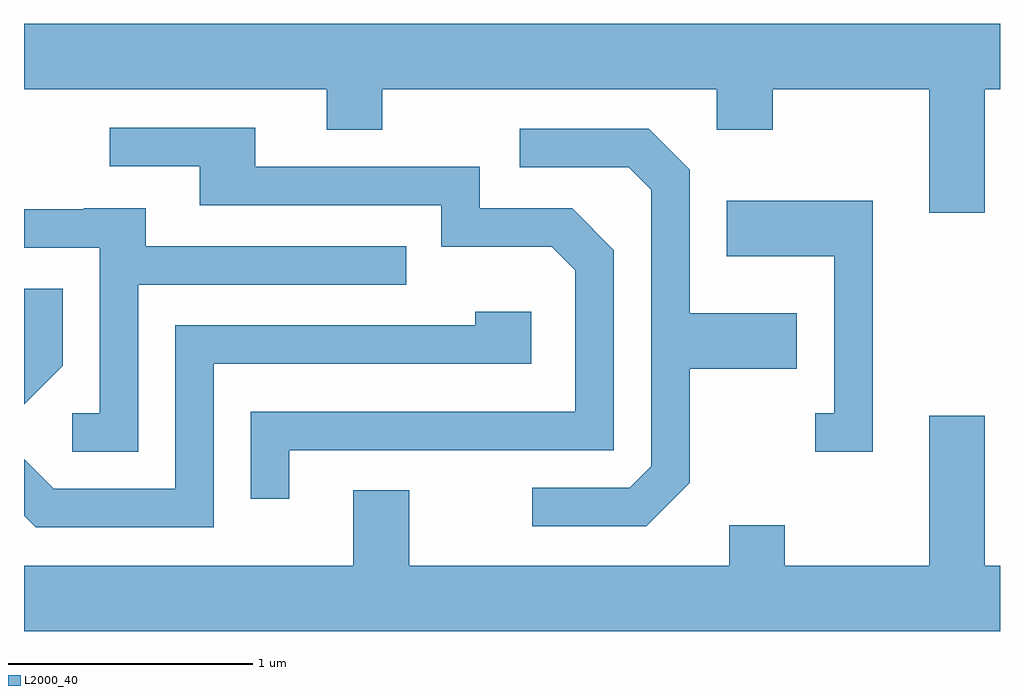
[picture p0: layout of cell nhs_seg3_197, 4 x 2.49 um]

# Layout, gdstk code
import gdstk
lib = gdstk.Library(unit=1e-6, precision=1e-09)
def P(c, l, *ps):  # polygons
    for p in ps: c.add(gdstk.Polygon(p, *l))
L2000_40 = (2000, 40)

nhs_seg3_197 = lib.new_cell('nhs_seg3_197')
P(nhs_seg3_197, L2000_40, [(193.549,1241.456),(193.611,1241.456),(193.611,1241.724),(189.611,1241.724),(189.611,1241.456),(190.851,1241.456),(190.851,1241.291),(191.079,1241.291),(191.079,1241.456),(192.451,1241.456),(192.451,1241.291),(192.679,1241.291),(192.679,1241.456),(193.321,1241.456),(193.321,1240.951),(193.549,1240.951)],
  [(190.699,1239.976),(192.029,1239.976),(192.029,1240.797),(191.857,1240.969),(191.479,1240.969),(191.479,1241.139),(190.559,1241.139),(190.559,1241.299),(189.963,1241.299),(189.963,1241.141),(190.331,1241.141),(190.331,1240.981),(191.321,1240.981),(191.321,1240.811),(191.774,1240.811),(191.871,1240.714),(191.871,1240.134),(190.541,1240.134),(190.541,1239.778),(190.699,1239.778)],
  [(192.339,1239.844),(192.339,1240.311),(192.779,1240.311),(192.779,1240.539),(192.339,1240.539),(192.339,1241.127),(192.172,1241.294),(191.643,1241.294),(191.643,1241.136),(192.089,1241.136),(192.181,1241.044),(192.181,1239.912),(192.094,1239.824),(191.693,1239.824),(191.693,1239.666),(192.162,1239.666)],
  [(193.089,1240.999),(192.491,1240.999),(192.491,1240.771),(192.931,1240.771),(192.931,1240.129),(192.853,1240.129),(192.853,1239.971),(193.089,1239.971)],
  [(190.079,1240.656),(191.178,1240.656),(191.178,1240.814),(190.109,1240.814),(190.109,1240.969),(189.855,1240.969),(189.855,1240.964),(189.611,1240.964),(189.611,1240.806),(189.921,1240.806),(189.921,1240.129),(189.808,1240.129),(189.808,1239.971),(190.079,1239.971)],
  [(189.769,1240.324),(189.769,1240.638),(189.611,1240.638),(189.611,1240.165)],
  [(190.389,1240.331),(191.689,1240.331),(191.689,1240.544),(191.461,1240.544),(191.461,1240.489),(190.231,1240.489),(190.231,1239.819),(189.732,1239.819),(189.611,1239.94),(189.611,1239.709),(189.659,1239.661),(190.389,1239.661)],
  [(193.611,1239.504),(193.549,1239.504),(193.549,1240.119),(193.321,1240.119),(193.321,1239.504),(192.729,1239.504),(192.729,1239.669),(192.501,1239.669),(192.501,1239.504),(191.189,1239.504),(191.189,1239.814),(190.961,1239.814),(190.961,1239.504),(189.611,1239.504),(189.611,1239.236),(193.611,1239.236)])

lib.write_gds('nhs_seg3_197.gds')
